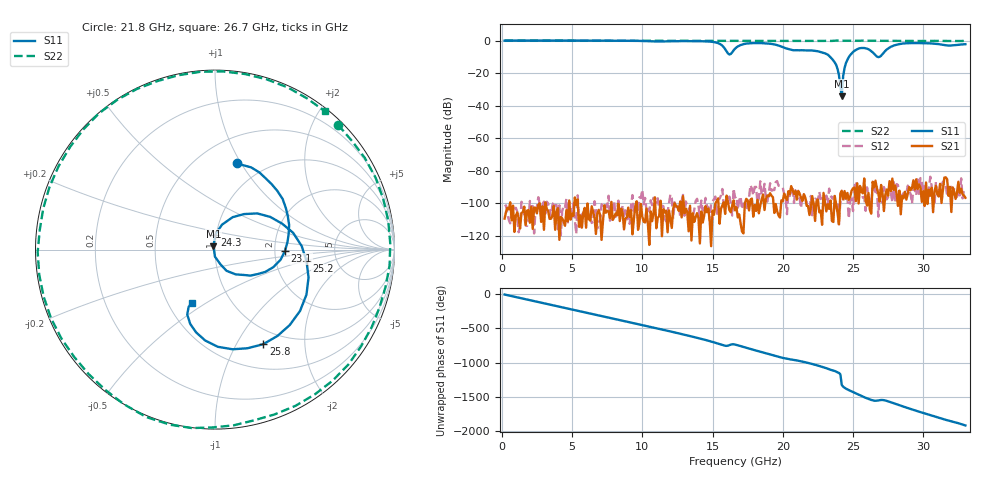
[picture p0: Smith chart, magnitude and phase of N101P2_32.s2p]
# GHZ S RI R 50
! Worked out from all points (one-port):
!   329 points, 200 MHz to 33 GHz, reference 50 ohm
!   lowest |S11| = -34.1 dB at 24.2 GHz (marker M1), VSWR 1.04, Z = 49.1 + j1.75 ohm
!   |S11| at or under -10 dB: 23.37 GHz to 24.71 GHz (1.344 GHz wide, 5.59 % of centre); 26.75 GHz to 26.89 GHz (139.7 MHz wide, 0.521 % of centre)
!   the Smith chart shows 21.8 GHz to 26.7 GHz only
!   S11 on the Smith chart (normalised r, x): 21.8 GHz: 0.75, +0.96; 23.1 GHz: 2.28, -0.04; 24.3 GHz: 0.99, +0.16; 25.2 GHz: 3.01, -0.53; 25.8 GHz: 0.80, -1.30; 26.7 GHz: 0.66, -0.44
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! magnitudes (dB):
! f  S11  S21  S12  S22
! 200 MHz  0.0  -109.3  -101.8  0.0
! 5.7 GHz  0.0  -114.9  -104.8  0.0
! 11.2 GHz  -0.5  -107.9  -103.6  -0.1
! 15.1 GHz  -0.9  -107.0  -97.5  -0.1
! 15.7 GHz  -3.1  -101.1  -91.1  -0.1
! 16.2 GHz  -8.6  -104.1  -95.8  -0.1
! 16.6 GHz  -5.0  -104.2  -96.4  -0.1
! 18.4 GHz  -1.5  -101.2  -86.4  -0.2
! 21.8 GHz  -6.1  -101.5  -99.1  -0.2
! 22.1 GHz  -6.1  -95.5  -107.3  -0.2
! 23.1 GHz  -8.2  -104.9  -95.2  -0.2
! 23.8 GHz  -14.9  -100.7  -102.0  0.0
! 24 GHz  -21.2  -112.9  -113.4  0.1
! 24.2 GHz  -34.1  -92.2  -98.0  -0.1
! 24.3 GHz  -21.6  -97.5  -98.7  -0.1
! 24.6 GHz  -11.8  -93.6  -96.5  -0.1
! 25.2 GHz  -5.8  -98.6  -86.4  -0.1
! 25.8 GHz  -4.6  -84.7  -96.0  0.0
! 26.7 GHz  -9.8  -90.9  -89.8  -0.1
! 27.6 GHz  -4.3  -86.3  -93.8  -0.2
! 28.9 GHz  -1.6  -94.0  -89.0  -0.2
! 33 GHz  -2.2  -96.6  -91.4  -0.2
